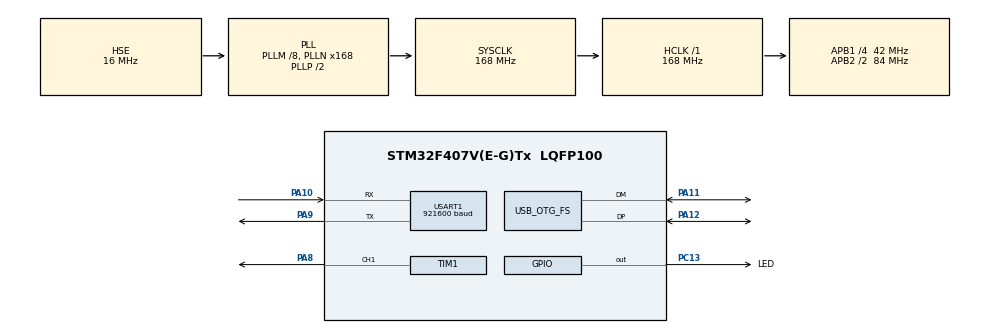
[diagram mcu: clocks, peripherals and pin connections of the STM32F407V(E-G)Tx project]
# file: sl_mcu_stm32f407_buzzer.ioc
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Mcu.Family=STM32F4
Mcu.Name=STM32F407V(E-G)Tx
Mcu.Package=LQFP100
NVIC.OTG_FS_IRQn=true\:0\:0\:false\:false\:true\:true\:true\:true
NVIC.PriorityGroup=NVIC_PRIORITYGROUP_4
PA10.Mode=Asynchronous
PA10.Signal=USART1_RX
PA11.Mode=Device_Only
PA11.Signal=USB_OTG_FS_DM
PA12.Mode=Device_Only
PA12.Signal=USB_OTG_FS_DP
PA13.Mode=Trace_Asynchronous_SW
PA13.Signal=SYS_JTMS-SWDIO
PA14.Mode=Trace_Asynchronous_SW
PA14.Signal=SYS_JTCK-SWCLK
PA8.Signal=S_TIM1_CH1
PA9.Mode=Asynchronous
PA9.Signal=USART1_TX
PB3.Mode=Trace_Asynchronous_SW
PB3.Signal=SYS_JTDO-SWO
PC13-ANTI_TAMP.GPIO_Label=LED
PC13-ANTI_TAMP.GPIO_ModeDefaultOutputPP=GPIO_MODE_OUTPUT_OD
PC13-ANTI_TAMP.GPIO_PuPd=GPIO_NOPULL
PC13-ANTI_TAMP.PinState=GPIO_PIN_SET
PC13-ANTI_TAMP.Signal=GPIO_Output
PH0-OSC_IN.Mode=HSE-External-Oscillator
PH0-OSC_IN.Signal=RCC_OSC_IN
PH1-OSC_OUT.Mode=HSE-External-Oscillator
PH1-OSC_OUT.Signal=RCC_OSC_OUT
ProjectManager.HeapSize=0x200
ProjectManager.StackSize=0x400
ProjectManager.TargetToolchain=STM32CubeIDE
RCC.48MHZClocksFreq_Value=48000000
RCC.AHBFreq_Value=168000000
RCC.APB1CLKDivider=RCC_HCLK_DIV4
RCC.APB1Freq_Value=42000000
RCC.APB1TimFreq_Value=84000000
RCC.APB2CLKDivider=RCC_HCLK_DIV2
RCC.APB2Freq_Value=84000000
RCC.APB2TimFreq_Value=168000000
RCC.CortexFreq_Value=168000000
RCC.HCLKFreq_Value=168000000
RCC.HSE_VALUE=16000000
RCC.HSI_VALUE=16000000
RCC.LSE_VALUE=32768
RCC.PLLM=8
RCC.PLLN=168
RCC.PLLQ=7
RCC.SYSCLKFreq_VALUE=168000000
RCC.SYSCLKSource=RCC_SYSCLKSOURCE_PLLCLK
RCC.VCOOutputFreq_Value=336000000
SH.S_TIM1_CH1.0=TIM1_CH1,PWM Generation1 CH1
TIM1.Channel-PWM\ Generation1\ CH1=TIM_CHANNEL_1
TIM1.Prescaler=84 - 1
USART1.BaudRate=921600
USART1.OverSampling=UART_OVERSAMPLING_8
USART1.VirtualMode=VM_ASYNC
USB_OTG_FS.VirtualMode=Device_Only
VP_TIM1_VS_ClockSourceINT.Mode=Internal
board=custom

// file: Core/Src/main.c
/* USER CODE BEGIN Header */
/**
 ******************************************************************************
 * @file           : main.c
 * @brief          : Main program body
 ******************************************************************************
 * @attention
 *
 * Copyright (c) 2026 STM32World <lth@stm32world.com>
 * All rights reserved.
 *
 * This software is licensed under terms that can be found in the LICENSE file
 * in the root directory of this software component.
 * If no LICENSE file comes with this software, it is provided AS-IS.
 *
 ******************************************************************************
 */
/* USER CODE END Header */
#include "main.h"

/* USER CODE BEGIN Includes */
#include <stdio.h>
#include "tusb.h"
/* USER CODE END Includes */

/* USER CODE BEGIN PD */
#define TIMER_CLOCK_FREQ 1000000UL // 1 MHz (Timer frequency after Prescaler)
/* USER CODE END PD */

TIM_HandleTypeDef htim1;

UART_HandleTypeDef huart1;

PCD_HandleTypeDef hpcd_USB_OTG_FS;

/* USER CODE BEGIN PV */

// Lookup table converting MIDI Note numbers (0-127) to Frequency (Hz)
// Rounded to nearest integer. 0 = Note off / out of range.
static const uint16_t midi_note_freq[128] = {
        8, 9, 9, 10, 10, 11, 12, 12, 13, 14, 15, 15,   // 0-11
        16, 17, 18, 19, 21, 22, 23, 24, 26, 28, 29, 31,   // 12-23
        33, 35, 37, 39, 41, 44, 46, 49, 52, 55, 58, 62,   // 24-35
        65, 69, 73, 78, 82, 87, 92, 98, 104, 110, 117, 123,  // 36-47
        131, 139, 147, 156, 165, 175, 185, 196, 208, 220, 233, 247,  // 48-59
        262, 277, 294, 311, 330, 349, 370, 392, 415, 440, 466, 494,  // 60-71 (60 = C4/Middle C, 69 = A4/440Hz)
        523, 554, 587, 622, 659, 698, 740, 784, 831, 880, 932, 988,  // 72-83
        1047, 1109, 1175, 1245, 1319, 1397, 1480, 1568, 1661, 1760, 1865, 1976, // 84-95
        2093, 2217, 2349, 2489, 2637, 2794, 2960, 3136, 3322, 3520, 3729, 3951, // 96-107
        4186, 4435, 4699, 4978, 5274, 5588, 5920, 6272, 6645, 7040, 7459, 7902, // 108-119
        8372, 8870, 9397, 9956, 10548, 11175, 11840, 12544                         // 120-127
        };

// Tracks the last active note so Note-Off only kills the sound if it matches
static uint8_t current_note = 0xFF;

/* USER CODE END PV */

void SystemClock_Config(void);
static void MX_GPIO_Init(void);
static void MX_USART1_UART_Init(void);
static void MX_TIM1_Init(void);
static void MX_USB_OTG_FS_PCD_Init(void);

/* USER CODE BEGIN 0 */

// Send printf to uart1
int __io_putchar(int ch) {
    if (ch == '\n') {
        HAL_UART_Transmit(&huart1, (uint8_t*) "\r", 1, HAL_MAX_DELAY);
    }
    if (HAL_UART_Transmit(&huart1, (uint8_t*) &ch, 1, HAL_MAX_DELAY) != HAL_OK) {
        return -1;
    }
    return ch;
}

/**
 * @brief Sets PWM frequency (20 Hz - 8000 Hz) at a fixed 50% duty cycle.
 * @param htim Pointer to the TIM_HandleTypeDef structure
 * @param Channel TIM Channels to be configured (e.g., TIM_CHANNEL_1)
 * @param frequency Target frequency in Hz (20 to 8000)
 */
void set_frequency(TIM_HandleTypeDef *htim, uint32_t Channel, uint32_t frequency)
{
    // Clamp frequency range
    if (frequency < 20)
        frequency = 20;
    if (frequency > 8000)
        frequency = 8000;

    // Frequency = Timer_Clock / (ARR + 1)  ==>  ARR = (Timer_Clock / Frequency) - 1
    uint32_t new_arr = (TIMER_CLOCK_FREQ / frequency) - 1;

    // 2. Calculate CCR for 50% duty cycle
    uint32_t new_ccr = (new_arr + 1) / 2;

    // 3. Update Timer Registers
    __HAL_TIM_SET_AUTORELOAD(htim, new_arr);
    __HAL_TIM_SET_COMPARE(htim, Channel, new_ccr);

}

/**
 * Helper function to play or stop sound on the buzzer
 */
void buzzer_note_on(uint8_t note) {
    if (note > 127)
        return;

    uint16_t freq = midi_note_freq[note];
    current_note = note;

    // Set PWM frequency and enable PWM Output Channel
    set_frequency(&htim1, TIM_CHANNEL_1, freq);
    HAL_TIM_PWM_Start(&htim1, TIM_CHANNEL_1);
}

void buzzer_note_off(uint8_t note) {
    // Only stop playing if the note being released is the currently active note
    if (note == current_note || note == 0xFF) {
        HAL_TIM_PWM_Stop(&htim1, TIM_CHANNEL_1);
        current_note = 0xFF;
    }
}

void tud_midi_rx_cb(uint8_t itf)
{
    (void) itf;
    uint8_t packet[4];

    while (tud_midi_packet_read(packet))
    {
        uint8_t cable = packet[0] >> 4;
        uint8_t cin = packet[0] & 0x0F;
        uint8_t status = packet[1];
        uint8_t data1 = packet[2]; // MIDI Note
        uint8_t data2 = packet[3]; // Velocity

        uint8_t channel = (status & 0x0F) + 1;
        uint8_t msg_type = status & 0xF0;

        printf("RAW Packet: [%02X %02X %02X %02X] | Cable: %d | CIN: 0x%X\r\n",
                packet[0], packet[1], packet[2], packet[3], cable, cin);

        switch (msg_type) {
        case 0x90: // Note On
            if (data2 > 0) {
                printf("  -> [Ch %d] Note ON  | Note: %d, Velocity: %d\r\n", channel, data1, data2);
                buzzer_note_on(data1);  // <--- PLAY NOTE
            } else {
                printf("  -> [Ch %d] Note OFF | Note: %d (Vel 0)\r\n", channel, data1);
                buzzer_note_off(data1); // <--- STOP NOTE
            }
            break;

        case 0x80: // Note Off
            printf("  -> [Ch %d] Note OFF | Note: %d, Velocity: %d\r\n", channel, data1, data2);
            buzzer_note_off(data1);     // <--- STOP NOTE
            break;

        case 0xB0: // Control Change (e.g. All Notes Off / Controller 123)
            printf("  -> [Ch %d] CC       | Controller: %d, Value: %d\r\n", channel, data1, data2);
            if (data1 == 123 || data1 == 120) {
                buzzer_note_off(0xFF); // Kill sound on All Notes Off CC
            }
            break;

        default:
            break;
        }
    }
}

/* USER CODE END 0 */

int main(void)
{

    /* MCU Configuration--------------------------------------------------------*/

    /* Reset of all peripherals, Initializes the Flash interface and the Systick. */
    HAL_Init();

    /* Configure the system clock */
    SystemClock_Config();

    /* Initialize all configured peripherals */
    MX_GPIO_Init();
    MX_USART1_UART_Init();
    MX_TIM1_Init();
    MX_USB_OTG_FS_PCD_Init();
    /* USER CODE BEGIN 2 */

    printf("\n\n\n--------\nStarting\n");

    // Initialize the TinyUSB Device stack
    tusb_init();

    /* USER CODE END 2 */

    /* Infinite loop */
    /* USER CODE BEGIN WHILE */

    register uint32_t now = 0, loop_cnt = 0, next_blink = 500, next_tick = 1000;

    while (1) {

        now = uwTick;

        if (now >= next_blink) {
            HAL_GPIO_TogglePin(LED_GPIO_Port, LED_Pin);
            next_blink += 500;
        }

        if (now >= next_tick) {

            printf("Tick %lu (loop = %lu)\n", now / 1000, loop_cnt);

            loop_cnt = 0;
            next_tick = now + 1000;
        }

        tud_task();

        ++loop_cnt;

        /* USER CODE END WHILE */

    }
}

void SystemClock_Config(void)
{
    RCC_OscInitTypeDef RCC_OscInitStruct = { 0 };
    RCC_ClkInitTypeDef RCC_ClkInitStruct = { 0 };

    /** Configure the main internal regulator output voltage
     */
    __HAL_RCC_PWR_CLK_ENABLE();
    __HAL_PWR_VOLTAGESCALING_CONFIG(PWR_REGULATOR_VOLTAGE_SCALE1);

    /** Initializes the RCC Oscillators according to the specified parameters
     * in the RCC_OscInitTypeDef structure.
     */
    RCC_OscInitStruct.OscillatorType = RCC_OSCILLATORTYPE_HSE;
    RCC_OscInitStruct.HSEState = RCC_HSE_ON;
    RCC_OscInitStruct.PLL.PLLState = RCC_PLL_ON;
    RCC_OscInitStruct.PLL.PLLSource = RCC_PLLSOURCE_HSE;
    RCC_OscInitStruct.PLL.PLLM = 8;
    RCC_OscInitStruct.PLL.PLLN = 168;
    RCC_OscInitStruct.PLL.PLLP = RCC_PLLP_DIV2;
    RCC_OscInitStruct.PLL.PLLQ = 7;
    if (HAL_RCC_OscConfig(&RCC_OscInitStruct) != HAL_OK)
            {
        Error_Handler();
    }

    /** Initializes the CPU, AHB and APB buses clocks
     */
    RCC_ClkInitStruct.ClockType = RCC_CLOCKTYPE_HCLK | RCC_CLOCKTYPE_SYSCLK
            | RCC_CLOCKTYPE_PCLK1 | RCC_CLOCKTYPE_PCLK2;
    RCC_ClkInitStruct.SYSCLKSource = RCC_SYSCLKSOURCE_PLLCLK;
    RCC_ClkInitStruct.AHBCLKDivider = RCC_SYSCLK_DIV1;
    RCC_ClkInitStruct.APB1CLKDivider = RCC_HCLK_DIV4;
    RCC_ClkInitStruct.APB2CLKDivider = RCC_HCLK_DIV2;

    if (HAL_RCC_ClockConfig(&RCC_ClkInitStruct, FLASH_LATENCY_5) != HAL_OK)
            {
        Error_Handler();
    }
}

static void MX_TIM1_Init(void)
{

    TIM_ClockConfigTypeDef sClockSourceConfig = { 0 };
    TIM_MasterConfigTypeDef sMasterConfig = { 0 };
    TIM_OC_InitTypeDef sConfigOC = { 0 };
    TIM_BreakDeadTimeConfigTypeDef sBreakDeadTimeConfig = { 0 };

    htim1.Instance = TIM1;
    htim1.Init.Prescaler = 84 - 1;
    htim1.Init.CounterMode = TIM_COUNTERMODE_UP;
    htim1.Init.Period = 65535;
    htim1.Init.ClockDivision = TIM_CLOCKDIVISION_DIV1;
    htim1.Init.RepetitionCounter = 0;
    htim1.Init.AutoReloadPreload = TIM_AUTORELOAD_PRELOAD_DISABLE;
    if (HAL_TIM_Base_Init(&htim1) != HAL_OK)
            {
        Error_Handler();
    }
    sClockSourceConfig.ClockSource = TIM_CLOCKSOURCE_INTERNAL;
    if (HAL_TIM_ConfigClockSource(&htim1, &sClockSourceConfig) != HAL_OK)
            {
        Error_Handler();
    }
    if (HAL_TIM_PWM_Init(&htim1) != HAL_OK)
            {
        Error_Handler();
    }
    sMasterConfig.MasterOutputTrigger = TIM_TRGO_RESET;
    sMasterConfig.MasterSlaveMode = TIM_MASTERSLAVEMODE_DISABLE;
    if (HAL_TIMEx_MasterConfigSynchronization(&htim1, &sMasterConfig) != HAL_OK)
            {
        Error_Handler();
    }
    sConfigOC.OCMode = TIM_OCMODE_PWM1;
    sConfigOC.Pulse = 0;
    sConfigOC.OCPolarity = TIM_OCPOLARITY_HIGH;
    sConfigOC.OCNPolarity = TIM_OCNPOLARITY_HIGH;
    sConfigOC.OCFastMode = TIM_OCFAST_DISABLE;
    sConfigOC.OCIdleState = TIM_OCIDLESTATE_RESET;
    sConfigOC.OCNIdleState = TIM_OCNIDLESTATE_RESET;
    if (HAL_TIM_PWM_ConfigChannel(&htim1, &sConfigOC, TIM_CHANNEL_1) != HAL_OK)
            {
        Error_Handler();
    }
    sBreakDeadTimeConfig.OffStateRunMode = TIM_OSSR_DISABLE;
    sBreakDeadTimeConfig.OffStateIDLEMode = TIM_OSSI_DISABLE;
    sBreakDeadTimeConfig.LockLevel = TIM_LOCKLEVEL_OFF;
    sBreakDeadTimeConfig.DeadTime = 0;
    sBreakDeadTimeConfig.BreakState = TIM_BREAK_DISABLE;
    sBreakDeadTimeConfig.BreakPolarity = TIM_BREAKPOLARITY_HIGH;
    sBreakDeadTimeConfig.AutomaticOutput = TIM_AUTOMATICOUTPUT_DISABLE;
    if (HAL_TIMEx_ConfigBreakDeadTime(&htim1, &sBreakDeadTimeConfig) != HAL_OK)
            {
        Error_Handler();
    }
    HAL_TIM_MspPostInit(&htim1);

}

static void MX_USART1_UART_Init(void)
{

    huart1.Instance = USART1;
    huart1.Init.BaudRate = 921600;
    huart1.Init.WordLength = UART_WORDLENGTH_8B;
    huart1.Init.StopBits = UART_STOPBITS_1;
    huart1.Init.Parity = UART_PARITY_NONE;
    huart1.Init.Mode = UART_MODE_TX_RX;
    huart1.Init.HwFlowCtl = UART_HWCONTROL_NONE;
    huart1.Init.OverSampling = UART_OVERSAMPLING_8;
    if (HAL_UART_Init(&huart1) != HAL_OK)
            {
        Error_Handler();
    }

}

static void MX_USB_OTG_FS_PCD_Init(void)
{

    hpcd_USB_OTG_FS.Instance = USB_OTG_FS;
    hpcd_USB_OTG_FS.Init.dev_endpoints = 4;
    hpcd_USB_OTG_FS.Init.speed = PCD_SPEED_FULL;
    hpcd_USB_OTG_FS.Init.dma_enable = DISABLE;
    hpcd_USB_OTG_FS.Init.phy_itface = PCD_PHY_EMBEDDED;
    hpcd_USB_OTG_FS.Init.Sof_enable = DISABLE;
    hpcd_USB_OTG_FS.Init.low_power_enable = DISABLE;
    hpcd_USB_OTG_FS.Init.lpm_enable = DISABLE;
    hpcd_USB_OTG_FS.Init.vbus_sensing_enable = DISABLE;
    hpcd_USB_OTG_FS.Init.use_dedicated_ep1 = DISABLE;
    if (HAL_PCD_Init(&hpcd_USB_OTG_FS) != HAL_OK)
            {
        Error_Handler();
    }

}

static void MX_GPIO_Init(void)
{
    GPIO_InitTypeDef GPIO_InitStruct = { 0 };

    /* GPIO Ports Clock Enable */
    __HAL_RCC_GPIOC_CLK_ENABLE();
    __HAL_RCC_GPIOH_CLK_ENABLE();
    __HAL_RCC_GPIOA_CLK_ENABLE();
    __HAL_RCC_GPIOB_CLK_ENABLE();

    /*Configure GPIO pin Output Level */
    HAL_GPIO_WritePin(LED_GPIO_Port, LED_Pin, GPIO_PIN_SET);

    /*Configure GPIO pin : LED_Pin */
    GPIO_InitStruct.Pin = LED_Pin;
    GPIO_InitStruct.Mode = GPIO_MODE_OUTPUT_OD;
    GPIO_InitStruct.Pull = GPIO_NOPULL;
    GPIO_InitStruct.Speed = GPIO_SPEED_FREQ_LOW;
    HAL_GPIO_Init(LED_GPIO_Port, &GPIO_InitStruct);

}

void Error_Handler(void)
{
    __disable_irq();
    while (1)
    {
    }
}
